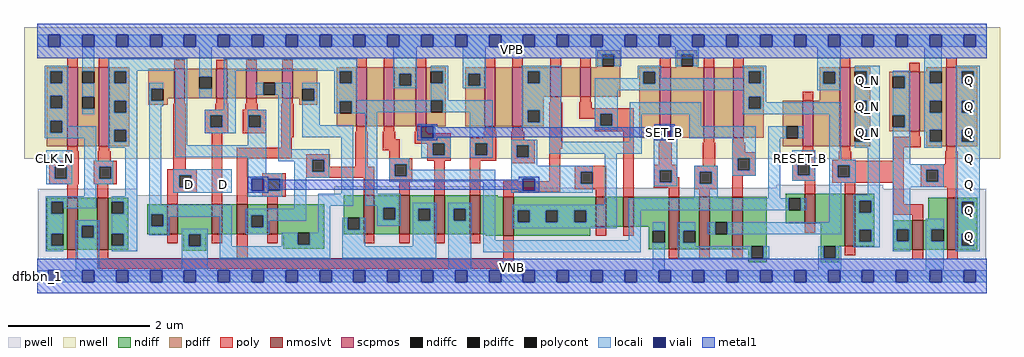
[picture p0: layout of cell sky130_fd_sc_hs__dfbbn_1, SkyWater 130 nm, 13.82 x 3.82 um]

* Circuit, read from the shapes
.subckt sky130_fd_sc_hs__dfbbn_1 CLK_N D RESET_B SET_B VGND VNB VPB VPWR Q Q_N
XM1 VGND CLK_N n1 VNB sky130_fd_pr__nfet_01v8_lvt w=0.74 l=0.15
XM2 n2 n1 VGND VNB sky130_fd_pr__nfet_01v8_lvt w=0.74 l=0.15
XM3 VGND D n3 VNB sky130_fd_pr__nfet_01v8_lvt w=0.42 l=0.15
XM4 n4 n5 VGND VNB sky130_fd_pr__nfet_01v8_lvt w=0.42 l=0.15
XM5 n6 n1 n4 VNB sky130_fd_pr__nfet_01v8_lvt w=0.42 l=0.15
XM6 n3 n2 n6 VNB sky130_fd_pr__nfet_01v8_lvt w=0.42 l=0.15
XM7 n5 n6 n7 VNB sky130_fd_pr__nfet_01v8_lvt w=0.55 l=0.15
XM8 n7 n8 n5 VNB sky130_fd_pr__nfet_01v8_lvt w=0.55 l=0.15
XM9 VGND SET_B n7 VNB sky130_fd_pr__nfet_01v8_lvt w=0.55 l=0.15
XM10 n9 n5 VGND VNB sky130_fd_pr__nfet_01v8_lvt w=0.55 l=0.15
XM11 n10 n1 n9 VNB sky130_fd_pr__nfet_01v8_lvt w=0.55 l=0.15
XM12 n11 n2 n10 VNB sky130_fd_pr__nfet_01v8_lvt w=0.42 l=0.15
XM13 VGND n12 n11 VNB sky130_fd_pr__nfet_01v8_lvt w=0.42 l=0.15
XM14 n13 SET_B VGND VNB sky130_fd_pr__nfet_01v8_lvt w=0.74 l=0.15
XM15 n12 n8 n13 VNB sky130_fd_pr__nfet_01v8_lvt w=0.74 l=0.15
XM16 n13 n10 n12 VNB sky130_fd_pr__nfet_01v8_lvt w=0.74 l=0.15
XM17 VGND RESET_B n8 VNB sky130_fd_pr__nfet_01v8_lvt w=0.42 l=0.15
XM18 Q_N n12 VGND VNB sky130_fd_pr__nfet_01v8_lvt w=0.74 l=0.15
XM19 VGND n12 n14 VNB sky130_fd_pr__nfet_01v8_lvt w=0.42 l=0.15
XM20 Q n14 VGND VNB sky130_fd_pr__nfet_01v8_lvt w=0.74 l=0.15
XM21 VPWR CLK_N n1 VPB sky130_fd_pr__pfet_01v8 w=1.12 l=0.15
XM22 n2 n1 VPWR VPB sky130_fd_pr__pfet_01v8 w=1.12 l=0.15
XM23 VPWR D n3 VPB sky130_fd_pr__pfet_01v8 w=0.42 l=0.15
XM24 n15 n5 VPWR VPB sky130_fd_pr__pfet_01v8 w=0.42 l=0.15
XM25 n6 n2 n15 VPB sky130_fd_pr__pfet_01v8 w=0.42 l=0.15
XM26 n3 n1 n6 VPB sky130_fd_pr__pfet_01v8 w=0.42 l=0.15
XM27 n16 n6 n5 VPB sky130_fd_pr__pfet_01v8 w=0.84 l=0.15
XM28 VPWR n8 n16 VPB sky130_fd_pr__pfet_01v8 w=0.84 l=0.15
XM29 n5 SET_B VPWR VPB sky130_fd_pr__pfet_01v8 w=0.84 l=0.15
XM30 n17 n5 VPWR VPB sky130_fd_pr__pfet_01v8 w=0.84 l=0.15
XM31 n10 n2 n17 VPB sky130_fd_pr__pfet_01v8 w=0.84 l=0.15
XM32 n18 n1 n10 VPB sky130_fd_pr__pfet_01v8 w=0.42 l=0.15
XM33 VPWR n12 n18 VPB sky130_fd_pr__pfet_01v8 w=0.42 l=0.15
XM34 VPWR SET_B n12 VPB sky130_fd_pr__pfet_01v8 w=1 l=0.15
XM35 n19 n8 VPWR VPB sky130_fd_pr__pfet_01v8 w=1 l=0.15
XM36 n12 n10 n19 VPB sky130_fd_pr__pfet_01v8 w=1 l=0.15
XM37 VPWR RESET_B n8 VPB sky130_fd_pr__pfet_01v8 w=0.64 l=0.15
XM38 Q_N n12 VPWR VPB sky130_fd_pr__pfet_01v8 w=1.12 l=0.15
XM39 VPWR n12 n14 VPB sky130_fd_pr__pfet_01v8 w=0.84 l=0.15
XM40 Q n14 VPWR VPB sky130_fd_pr__pfet_01v8 w=1.12 l=0.15
.ends

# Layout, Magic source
magic
tech sky130A
magscale 1 2
<< nwell >>
rect -38 332 2726 704
<< pwell >>
rect 841 250 1330 255
rect 2093 250 2396 259
rect 841 248 2396 250
rect 1 229 283 248
rect 841 229 2687 248
rect 1 49 2687 229
rect 0 0 2688 49
<< scpmos >>
rect 84 368 114 592
rect 174 368 204 592
rect 387 503 417 587
rect 507 503 537 587
rect 591 503 621 587
rect 693 503 723 587
rect 903 424 933 592
rect 981 424 1011 592
rect 1071 424 1101 592
rect 1267 424 1297 592
rect 1345 424 1375 592
rect 1453 508 1483 592
rect 1537 508 1567 592
rect 1763 392 1793 592
rect 1887 392 1917 592
rect 1971 392 2001 592
rect 2167 368 2197 496
rect 2272 368 2302 592
rect 2469 410 2499 578
rect 2574 368 2604 592
<< nmoslvt >>
rect 84 74 114 222
rect 170 74 200 222
rect 368 119 398 203
rect 493 119 523 203
rect 565 119 595 203
rect 651 119 681 203
rect 924 119 954 229
rect 1024 119 1054 229
rect 1124 119 1154 229
rect 1224 119 1254 229
rect 1319 114 1349 224
rect 1581 140 1611 224
rect 1659 140 1689 224
rect 1788 76 1818 224
rect 1874 76 1904 224
rect 1968 76 1998 224
rect 2173 149 2203 233
rect 2286 85 2316 233
rect 2478 74 2508 158
rect 2577 74 2607 222
<< ndiff >>
rect 27 210 84 222
rect 27 176 39 210
rect 73 176 84 210
rect 27 120 84 176
rect 27 86 39 120
rect 73 86 84 120
rect 27 74 84 86
rect 114 142 170 222
rect 114 108 125 142
rect 159 108 170 142
rect 114 74 170 108
rect 200 210 257 222
rect 200 176 211 210
rect 245 176 257 210
rect 200 120 257 176
rect 200 86 211 120
rect 245 86 257 120
rect 311 175 368 203
rect 311 141 323 175
rect 357 141 368 175
rect 311 119 368 141
rect 398 119 493 203
rect 523 119 565 203
rect 595 172 651 203
rect 595 138 606 172
rect 640 138 651 172
rect 595 119 651 138
rect 681 123 813 203
rect 681 119 737 123
rect 413 118 478 119
rect 200 74 257 86
rect 413 84 428 118
rect 462 84 478 118
rect 413 72 478 84
rect 696 89 737 119
rect 771 89 813 123
rect 867 165 924 229
rect 867 131 879 165
rect 913 131 924 165
rect 867 119 924 131
rect 954 193 1024 229
rect 954 159 979 193
rect 1013 159 1024 193
rect 954 119 1024 159
rect 1054 191 1124 229
rect 1054 157 1079 191
rect 1113 157 1124 191
rect 1054 119 1124 157
rect 1154 191 1224 229
rect 1154 157 1179 191
rect 1213 157 1224 191
rect 1154 119 1224 157
rect 1254 224 1304 229
rect 1254 119 1319 224
rect 1269 114 1319 119
rect 1349 186 1581 224
rect 1349 152 1360 186
rect 1394 152 1440 186
rect 1474 152 1520 186
rect 1554 152 1581 186
rect 1349 140 1581 152
rect 1611 140 1659 224
rect 1689 140 1788 224
rect 1349 114 1566 140
rect 1731 129 1788 140
rect 696 77 813 89
rect 1731 95 1743 129
rect 1777 95 1788 129
rect 1731 76 1788 95
rect 1818 129 1874 224
rect 1818 95 1829 129
rect 1863 95 1874 129
rect 1818 76 1874 95
rect 1904 153 1968 224
rect 1904 119 1919 153
rect 1953 119 1968 153
rect 1904 76 1968 119
rect 1998 85 2065 224
rect 2119 221 2173 233
rect 2119 187 2128 221
rect 2162 187 2173 221
rect 2119 149 2173 187
rect 2203 149 2286 233
rect 1998 76 2022 85
rect 2013 51 2022 76
rect 2056 51 2065 85
rect 2013 39 2065 51
rect 2218 85 2286 149
rect 2316 214 2370 233
rect 2316 180 2327 214
rect 2361 180 2370 214
rect 2316 131 2370 180
rect 2523 158 2577 222
rect 2316 97 2327 131
rect 2361 97 2370 131
rect 2316 85 2370 97
rect 2424 133 2478 158
rect 2424 99 2433 133
rect 2467 99 2478 133
rect 2218 51 2227 85
rect 2261 51 2271 85
rect 2424 74 2478 99
rect 2508 133 2577 158
rect 2508 99 2532 133
rect 2566 99 2577 133
rect 2508 74 2577 99
rect 2607 210 2661 222
rect 2607 176 2618 210
rect 2652 176 2661 210
rect 2607 120 2661 176
rect 2607 86 2618 120
rect 2652 86 2661 120
rect 2607 74 2661 86
rect 2218 39 2271 51
<< pdiff >>
rect 1585 628 1650 639
rect 27 580 84 592
rect 27 546 37 580
rect 71 546 84 580
rect 27 510 84 546
rect 27 476 37 510
rect 71 476 84 510
rect 27 440 84 476
rect 27 406 37 440
rect 71 406 84 440
rect 27 368 84 406
rect 114 580 174 592
rect 114 546 127 580
rect 161 546 174 580
rect 114 508 174 546
rect 114 474 127 508
rect 161 474 174 508
rect 114 368 174 474
rect 204 580 260 592
rect 1585 594 1600 628
rect 1634 594 1650 628
rect 1811 628 1869 639
rect 1585 592 1650 594
rect 1811 594 1823 628
rect 1857 594 1869 628
rect 1811 592 1869 594
rect 204 546 217 580
rect 251 546 260 580
rect 204 497 260 546
rect 204 463 217 497
rect 251 463 260 497
rect 314 531 387 587
rect 314 497 323 531
rect 357 503 387 531
rect 417 565 507 587
rect 417 531 459 565
rect 493 531 507 565
rect 417 503 507 531
rect 537 503 591 587
rect 621 547 693 587
rect 621 513 640 547
rect 674 513 693 547
rect 621 503 693 513
rect 723 531 793 587
rect 723 503 750 531
rect 357 497 369 503
rect 314 485 369 497
rect 741 497 750 503
rect 784 497 793 531
rect 204 414 260 463
rect 204 380 217 414
rect 251 380 260 414
rect 204 368 260 380
rect 741 485 793 497
rect 847 580 903 592
rect 847 546 856 580
rect 890 546 903 580
rect 847 495 903 546
rect 847 461 856 495
rect 890 461 903 495
rect 847 424 903 461
rect 933 424 981 592
rect 1011 573 1071 592
rect 1011 539 1024 573
rect 1058 539 1071 573
rect 1011 424 1071 539
rect 1101 580 1157 592
rect 1101 546 1114 580
rect 1148 546 1157 580
rect 1101 498 1157 546
rect 1101 464 1114 498
rect 1148 464 1157 498
rect 1101 424 1157 464
rect 1211 573 1267 592
rect 1211 539 1220 573
rect 1254 539 1267 573
rect 1211 424 1267 539
rect 1297 424 1345 592
rect 1375 580 1453 592
rect 1375 546 1388 580
rect 1422 546 1453 580
rect 1375 508 1453 546
rect 1483 508 1537 592
rect 1567 508 1650 592
rect 1704 578 1763 592
rect 1704 544 1716 578
rect 1750 544 1763 578
rect 1375 470 1434 508
rect 1375 436 1388 470
rect 1422 436 1434 470
rect 1375 424 1434 436
rect 1704 392 1763 544
rect 1793 392 1887 592
rect 1917 392 1971 592
rect 2001 580 2057 592
rect 2001 546 2014 580
rect 2048 546 2057 580
rect 2001 508 2057 546
rect 2215 578 2272 592
rect 2215 544 2225 578
rect 2259 544 2272 578
rect 2001 474 2014 508
rect 2048 474 2057 508
rect 2215 496 2272 544
rect 2001 392 2057 474
rect 2111 424 2167 496
rect 2111 390 2120 424
rect 2154 390 2167 424
rect 2111 368 2167 390
rect 2197 368 2272 496
rect 2302 580 2358 592
rect 2302 546 2315 580
rect 2349 546 2358 580
rect 2517 580 2574 592
rect 2517 578 2527 580
rect 2302 497 2358 546
rect 2302 463 2315 497
rect 2349 463 2358 497
rect 2302 414 2358 463
rect 2302 380 2315 414
rect 2349 380 2358 414
rect 2412 566 2469 578
rect 2412 532 2422 566
rect 2456 532 2469 566
rect 2412 456 2469 532
rect 2412 422 2422 456
rect 2456 422 2469 456
rect 2412 410 2469 422
rect 2499 546 2527 578
rect 2561 546 2574 580
rect 2499 497 2574 546
rect 2499 463 2527 497
rect 2561 463 2574 497
rect 2499 414 2574 463
rect 2499 410 2527 414
rect 2302 368 2358 380
rect 2517 380 2527 410
rect 2561 380 2574 414
rect 2517 368 2574 380
rect 2604 580 2661 592
rect 2604 546 2617 580
rect 2651 546 2661 580
rect 2604 497 2661 546
rect 2604 463 2617 497
rect 2651 463 2661 497
rect 2604 414 2661 463
rect 2604 380 2617 414
rect 2651 380 2661 414
rect 2604 368 2661 380
<< ndiffc >>
rect 39 176 73 210
rect 39 86 73 120
rect 125 108 159 142
rect 211 176 245 210
rect 211 86 245 120
rect 323 141 357 175
rect 606 138 640 172
rect 428 84 462 118
rect 737 89 771 123
rect 879 131 913 165
rect 979 159 1013 193
rect 1079 157 1113 191
rect 1179 157 1213 191
rect 1360 152 1394 186
rect 1440 152 1474 186
rect 1520 152 1554 186
rect 1743 95 1777 129
rect 1829 95 1863 129
rect 1919 119 1953 153
rect 2128 187 2162 221
rect 2022 51 2056 85
rect 2327 180 2361 214
rect 2327 97 2361 131
rect 2433 99 2467 133
rect 2227 51 2261 85
rect 2532 99 2566 133
rect 2618 176 2652 210
rect 2618 86 2652 120
<< pdiffc >>
rect 37 546 71 580
rect 37 476 71 510
rect 37 406 71 440
rect 127 546 161 580
rect 127 474 161 508
rect 1600 594 1634 628
rect 1823 594 1857 628
rect 217 546 251 580
rect 217 463 251 497
rect 323 497 357 531
rect 459 531 493 565
rect 640 513 674 547
rect 750 497 784 531
rect 217 380 251 414
rect 856 546 890 580
rect 856 461 890 495
rect 1024 539 1058 573
rect 1114 546 1148 580
rect 1114 464 1148 498
rect 1220 539 1254 573
rect 1388 546 1422 580
rect 1716 544 1750 578
rect 1388 436 1422 470
rect 2014 546 2048 580
rect 2225 544 2259 578
rect 2014 474 2048 508
rect 2120 390 2154 424
rect 2315 546 2349 580
rect 2315 463 2349 497
rect 2315 380 2349 414
rect 2422 532 2456 566
rect 2422 422 2456 456
rect 2527 546 2561 580
rect 2527 463 2561 497
rect 2527 380 2561 414
rect 2617 546 2651 580
rect 2617 463 2651 497
rect 2617 380 2651 414
<< poly >>
rect 84 592 114 618
rect 174 592 204 618
rect 387 587 417 613
rect 507 587 537 613
rect 591 587 621 613
rect 693 587 723 613
rect 903 592 933 618
rect 981 592 1011 618
rect 1071 592 1101 618
rect 1267 592 1297 618
rect 1345 592 1375 618
rect 1453 592 1483 618
rect 1537 592 1567 618
rect 1763 592 1793 618
rect 1887 592 1917 618
rect 1971 592 2001 618
rect 2272 592 2302 618
rect 387 488 417 503
rect 507 488 537 503
rect 591 488 621 503
rect 693 488 723 503
rect 84 353 114 368
rect 174 353 204 368
rect 81 326 117 353
rect 171 326 207 353
rect 33 310 117 326
rect 33 276 49 310
rect 83 276 117 310
rect 33 260 117 276
rect 159 310 225 326
rect 159 276 175 310
rect 209 276 225 310
rect 384 302 420 488
rect 504 471 540 488
rect 588 471 624 488
rect 474 455 540 471
rect 474 421 490 455
rect 524 421 540 455
rect 474 405 540 421
rect 582 455 648 471
rect 582 421 598 455
rect 632 421 648 455
rect 582 405 648 421
rect 159 260 225 276
rect 368 286 451 302
rect 84 222 114 260
rect 170 222 200 260
rect 368 252 401 286
rect 435 252 451 286
rect 368 236 451 252
rect 368 203 398 236
rect 493 203 523 405
rect 690 393 726 488
rect 1453 493 1483 508
rect 1537 493 1567 508
rect 903 409 933 424
rect 981 409 1011 424
rect 1071 409 1101 424
rect 1267 409 1297 424
rect 1345 409 1375 424
rect 690 363 720 393
rect 565 333 720 363
rect 565 203 595 333
rect 762 329 828 345
rect 762 295 778 329
rect 812 309 828 329
rect 900 309 936 409
rect 978 387 1014 409
rect 1068 405 1104 409
rect 978 357 1026 387
rect 1068 376 1170 405
rect 1264 392 1300 409
rect 1068 375 1120 376
rect 996 333 1026 357
rect 1104 342 1120 375
rect 1154 342 1170 376
rect 996 317 1062 333
rect 1104 326 1170 342
rect 1224 376 1300 392
rect 1224 342 1240 376
rect 1274 342 1300 376
rect 1224 326 1300 342
rect 1342 386 1378 409
rect 1342 370 1408 386
rect 1342 336 1358 370
rect 1392 336 1408 370
rect 812 295 954 309
rect 637 275 703 291
rect 762 279 954 295
rect 637 241 653 275
rect 687 241 703 275
rect 637 225 703 241
rect 924 229 954 279
rect 996 283 1012 317
rect 1046 283 1062 317
rect 996 267 1062 283
rect 1024 229 1054 267
rect 1124 229 1154 326
rect 1224 229 1254 326
rect 1342 320 1408 336
rect 1450 360 1486 493
rect 1534 476 1570 493
rect 1534 460 1689 476
rect 1534 446 1594 460
rect 1578 426 1594 446
rect 1628 426 1689 460
rect 1578 410 1689 426
rect 1450 269 1480 360
rect 1319 239 1480 269
rect 1522 296 1611 312
rect 1522 262 1538 296
rect 1572 262 1611 296
rect 1522 246 1611 262
rect 651 203 681 225
rect 368 93 398 119
rect 493 93 523 119
rect 84 48 114 74
rect 170 51 200 74
rect 565 51 595 119
rect 651 93 681 119
rect 1319 224 1349 239
rect 1581 224 1611 246
rect 1659 224 1689 410
rect 2167 496 2197 522
rect 1763 377 1793 392
rect 1887 377 1917 392
rect 1971 377 2001 392
rect 1760 316 1796 377
rect 1746 300 1812 316
rect 1884 312 1920 377
rect 1968 350 2004 377
rect 2469 578 2499 604
rect 2574 592 2604 618
rect 2469 395 2499 410
rect 2167 353 2197 368
rect 2272 353 2302 368
rect 2423 365 2502 395
rect 1968 334 2034 350
rect 2164 336 2200 353
rect 1746 266 1762 300
rect 1796 280 1812 300
rect 1860 296 1926 312
rect 1796 266 1818 280
rect 1746 250 1818 266
rect 1788 224 1818 250
rect 1860 262 1876 296
rect 1910 262 1926 296
rect 1860 246 1926 262
rect 1968 300 1984 334
rect 2018 300 2034 334
rect 1968 284 2034 300
rect 2137 320 2203 336
rect 2269 330 2305 353
rect 2137 286 2153 320
rect 2187 286 2203 320
rect 1874 224 1904 246
rect 1968 224 1998 284
rect 2137 270 2203 286
rect 2173 233 2203 270
rect 2251 327 2317 330
rect 2423 327 2453 365
rect 2574 353 2604 368
rect 2251 314 2453 327
rect 2571 317 2607 353
rect 2251 280 2267 314
rect 2301 280 2453 314
rect 2251 264 2453 280
rect 2286 233 2316 264
rect 924 93 954 119
rect 1024 93 1054 119
rect 1124 93 1154 119
rect 1224 93 1254 119
rect 1581 114 1611 140
rect 1659 114 1689 140
rect 1319 51 1349 114
rect 2173 123 2203 149
rect 170 21 1349 51
rect 1788 50 1818 76
rect 1874 50 1904 76
rect 1968 50 1998 76
rect 2423 203 2453 264
rect 2501 301 2607 317
rect 2501 267 2517 301
rect 2551 267 2607 301
rect 2501 251 2607 267
rect 2577 222 2607 251
rect 2423 173 2508 203
rect 2478 158 2508 173
rect 2286 59 2316 85
rect 2478 48 2508 74
rect 2577 48 2607 74
<< polycont >>
rect 49 276 83 310
rect 175 276 209 310
rect 490 421 524 455
rect 598 421 632 455
rect 401 252 435 286
rect 778 295 812 329
rect 1120 342 1154 376
rect 1240 342 1274 376
rect 1358 336 1392 370
rect 653 241 687 275
rect 1012 283 1046 317
rect 1594 426 1628 460
rect 1538 262 1572 296
rect 1762 266 1796 300
rect 1876 262 1910 296
rect 1984 300 2018 334
rect 2153 286 2187 320
rect 2267 280 2301 314
rect 2517 267 2551 301
<< locali >>
rect 0 649 31 683
rect 65 649 127 683
rect 161 649 223 683
rect 257 649 319 683
rect 353 649 415 683
rect 449 649 511 683
rect 545 649 607 683
rect 641 649 703 683
rect 737 649 799 683
rect 833 649 895 683
rect 929 649 991 683
rect 1025 649 1087 683
rect 1121 649 1183 683
rect 1217 649 1279 683
rect 1313 649 1375 683
rect 1409 649 1471 683
rect 1505 649 1567 683
rect 1601 649 1663 683
rect 1697 649 1759 683
rect 1793 649 1855 683
rect 1889 649 1951 683
rect 1985 649 2047 683
rect 2081 649 2143 683
rect 2177 649 2239 683
rect 2273 649 2335 683
rect 2369 649 2431 683
rect 2465 649 2527 683
rect 2561 649 2623 683
rect 2657 649 2688 683
rect 21 580 87 596
rect 21 546 37 580
rect 71 546 87 580
rect 21 510 87 546
rect 21 476 37 510
rect 71 476 87 510
rect 21 440 87 476
rect 127 580 161 649
rect 127 508 161 546
rect 127 458 161 474
rect 201 581 425 615
rect 201 580 283 581
rect 201 546 217 580
rect 251 546 283 580
rect 201 497 283 546
rect 201 463 217 497
rect 251 463 283 497
rect 21 406 37 440
rect 71 424 87 440
rect 71 406 167 424
rect 21 390 167 406
rect 25 310 99 356
rect 25 276 49 310
rect 83 276 99 310
rect 25 260 99 276
rect 133 326 167 390
rect 201 414 283 463
rect 201 380 217 414
rect 251 380 283 414
rect 201 364 283 380
rect 133 310 215 326
rect 133 276 175 310
rect 209 276 215 310
rect 133 260 215 276
rect 133 226 167 260
rect 249 226 283 364
rect 23 210 167 226
rect 23 176 39 210
rect 73 192 167 210
rect 211 210 283 226
rect 23 120 73 176
rect 245 176 283 210
rect 23 86 39 120
rect 23 70 73 86
rect 109 142 175 158
rect 109 108 125 142
rect 159 108 175 142
rect 109 17 175 108
rect 211 120 283 176
rect 245 86 283 120
rect 317 531 357 547
rect 317 497 323 531
rect 317 481 357 497
rect 317 202 351 481
rect 391 371 425 581
rect 459 565 493 649
rect 459 505 493 531
rect 527 581 906 615
rect 527 471 561 581
rect 840 580 906 581
rect 618 513 640 547
rect 674 513 716 547
rect 474 455 561 471
rect 474 421 490 455
rect 524 421 561 455
rect 474 405 561 421
rect 595 455 648 471
rect 595 421 598 455
rect 632 421 648 455
rect 595 371 648 421
rect 391 337 648 371
rect 385 286 551 302
rect 385 252 401 286
rect 435 252 551 286
rect 385 236 551 252
rect 595 291 648 337
rect 682 359 716 513
rect 750 531 800 547
rect 784 497 800 531
rect 750 427 800 497
rect 840 546 856 580
rect 890 546 906 580
rect 840 498 906 546
rect 1008 573 1074 649
rect 1008 539 1024 573
rect 1058 539 1074 573
rect 1008 532 1074 539
rect 1114 580 1164 596
rect 1148 546 1164 580
rect 1114 498 1164 546
rect 1204 573 1270 649
rect 1581 628 1654 649
rect 1204 539 1220 573
rect 1254 539 1270 573
rect 1204 532 1270 539
rect 1372 580 1483 596
rect 1581 594 1600 628
rect 1634 594 1654 628
rect 1807 628 1873 649
rect 1372 546 1388 580
rect 1422 546 1483 580
rect 1700 578 1766 596
rect 1807 594 1823 628
rect 1857 594 1873 628
rect 1700 560 1716 578
rect 840 495 1114 498
rect 840 461 856 495
rect 890 464 1114 495
rect 1148 464 1290 498
rect 890 461 963 464
rect 750 393 895 427
rect 682 329 827 359
rect 682 325 778 329
rect 727 295 778 325
rect 812 295 827 329
rect 595 276 693 291
rect 595 242 607 276
rect 641 275 693 276
rect 641 242 653 275
rect 595 241 653 242
rect 687 241 693 275
rect 595 225 693 241
rect 727 279 827 295
rect 317 175 550 202
rect 727 191 761 279
rect 861 233 895 393
rect 317 141 323 175
rect 357 168 550 175
rect 357 141 373 168
rect 317 115 373 141
rect 409 118 482 134
rect 211 70 283 86
rect 409 84 428 118
rect 462 84 482 118
rect 409 17 482 84
rect 516 85 550 168
rect 590 172 761 191
rect 590 138 606 172
rect 640 157 761 172
rect 795 199 895 233
rect 929 233 963 461
rect 1087 424 1127 430
rect 1121 392 1127 424
rect 1121 390 1170 392
rect 1087 376 1170 390
rect 1087 342 1120 376
rect 1154 342 1170 376
rect 1087 335 1170 342
rect 1224 376 1290 464
rect 1372 470 1483 546
rect 1372 436 1388 470
rect 1422 436 1483 470
rect 1372 420 1483 436
rect 1224 342 1240 376
rect 1274 342 1290 376
rect 1224 335 1290 342
rect 1342 370 1415 386
rect 1342 336 1358 370
rect 1392 336 1415 370
rect 1449 380 1483 420
rect 1578 544 1716 560
rect 1750 560 1766 578
rect 1998 580 2064 596
rect 1998 560 2014 580
rect 1750 546 2014 560
rect 2048 546 2064 580
rect 1750 544 2064 546
rect 1578 526 2064 544
rect 2209 578 2275 649
rect 2209 544 2225 578
rect 2259 544 2275 578
rect 2209 526 2275 544
rect 2315 580 2385 596
rect 2349 546 2385 580
rect 1578 460 1644 526
rect 1998 508 2064 526
rect 1578 426 1594 460
rect 1628 426 1644 460
rect 1578 414 1644 426
rect 1678 458 1880 492
rect 1998 474 2014 508
rect 2048 492 2064 508
rect 2315 497 2385 546
rect 2048 474 2277 492
rect 1998 458 2277 474
rect 1678 380 1712 458
rect 1846 424 1880 458
rect 1449 346 1712 380
rect 1746 390 1759 424
rect 1793 390 1812 424
rect 1846 390 2034 424
rect 997 317 1053 333
rect 997 283 1012 317
rect 1046 301 1053 317
rect 1342 312 1415 336
rect 1046 283 1297 301
rect 997 267 1297 283
rect 929 199 1029 233
rect 640 138 656 157
rect 590 119 656 138
rect 795 123 829 199
rect 963 193 1029 199
rect 692 89 737 123
rect 771 89 829 123
rect 692 85 829 89
rect 516 51 829 85
rect 863 131 879 165
rect 913 131 929 165
rect 963 159 979 193
rect 1013 159 1029 193
rect 963 143 1029 159
rect 1063 191 1129 207
rect 1063 157 1079 191
rect 1113 157 1129 191
rect 863 85 929 131
rect 1063 85 1129 157
rect 863 51 1129 85
rect 1163 191 1229 207
rect 1163 157 1179 191
rect 1213 157 1229 191
rect 1163 17 1229 157
rect 1263 102 1297 267
rect 1342 296 1573 312
rect 1342 276 1538 296
rect 1342 242 1375 276
rect 1409 262 1538 276
rect 1572 262 1573 296
rect 1409 242 1573 262
rect 1342 236 1573 242
rect 1607 202 1641 346
rect 1746 300 1812 390
rect 1968 334 2034 390
rect 1746 266 1762 300
rect 1796 266 1812 300
rect 1746 255 1812 266
rect 1860 296 1926 312
rect 1860 262 1876 296
rect 1910 262 1926 296
rect 1968 300 1984 334
rect 2018 300 2034 334
rect 1968 284 2034 300
rect 2069 390 2120 424
rect 2154 390 2170 424
rect 1860 221 1926 262
rect 2069 221 2103 390
rect 2137 320 2203 356
rect 2137 286 2153 320
rect 2187 286 2203 320
rect 2137 270 2203 286
rect 2243 330 2277 458
rect 2349 463 2385 497
rect 2315 414 2385 463
rect 2349 380 2385 414
rect 2315 364 2385 380
rect 2243 314 2317 330
rect 2243 280 2267 314
rect 2301 280 2317 314
rect 2243 264 2317 280
rect 1344 186 1641 202
rect 1344 152 1360 186
rect 1394 152 1440 186
rect 1474 152 1520 186
rect 1554 152 1641 186
rect 1344 136 1641 152
rect 1675 187 2128 221
rect 2162 187 2178 221
rect 1675 102 1709 187
rect 2243 153 2277 264
rect 2351 230 2385 364
rect 1263 68 1709 102
rect 1743 129 1777 153
rect 1743 17 1777 95
rect 1813 129 1863 153
rect 1813 95 1829 129
rect 1899 119 1919 153
rect 1953 119 2277 153
rect 2311 214 2385 230
rect 2311 180 2327 214
rect 2361 180 2385 214
rect 2311 131 2385 180
rect 1813 85 1863 95
rect 2311 97 2327 131
rect 2361 97 2385 131
rect 1813 51 2022 85
rect 2056 51 2072 85
rect 2211 51 2227 85
rect 2261 51 2277 85
rect 2311 81 2385 97
rect 2422 566 2472 582
rect 2456 532 2472 566
rect 2422 456 2472 532
rect 2456 422 2472 456
rect 2422 317 2472 422
rect 2511 580 2561 649
rect 2511 546 2527 580
rect 2511 497 2561 546
rect 2511 463 2527 497
rect 2511 414 2561 463
rect 2511 380 2527 414
rect 2511 364 2561 380
rect 2601 580 2668 596
rect 2601 546 2617 580
rect 2651 546 2668 580
rect 2601 497 2668 546
rect 2601 463 2617 497
rect 2651 463 2668 497
rect 2601 414 2668 463
rect 2601 380 2617 414
rect 2651 380 2668 414
rect 2422 301 2567 317
rect 2422 267 2517 301
rect 2551 267 2567 301
rect 2422 251 2567 267
rect 2422 133 2472 251
rect 2601 210 2668 380
rect 2601 176 2618 210
rect 2652 176 2668 210
rect 2422 99 2433 133
rect 2467 99 2472 133
rect 2422 70 2472 99
rect 2516 133 2566 162
rect 2516 99 2532 133
rect 2211 17 2277 51
rect 2516 17 2566 99
rect 2601 120 2668 176
rect 2601 86 2618 120
rect 2652 86 2668 120
rect 2601 70 2668 86
rect 0 -17 31 17
rect 65 -17 127 17
rect 161 -17 223 17
rect 257 -17 319 17
rect 353 -17 415 17
rect 449 -17 511 17
rect 545 -17 607 17
rect 641 -17 703 17
rect 737 -17 799 17
rect 833 -17 895 17
rect 929 -17 991 17
rect 1025 -17 1087 17
rect 1121 -17 1183 17
rect 1217 -17 1279 17
rect 1313 -17 1375 17
rect 1409 -17 1471 17
rect 1505 -17 1567 17
rect 1601 -17 1663 17
rect 1697 -17 1759 17
rect 1793 -17 1855 17
rect 1889 -17 1951 17
rect 1985 -17 2047 17
rect 2081 -17 2143 17
rect 2177 -17 2239 17
rect 2273 -17 2335 17
rect 2369 -17 2431 17
rect 2465 -17 2527 17
rect 2561 -17 2623 17
rect 2657 -17 2688 17
<< viali >>
rect 31 649 65 683
rect 127 649 161 683
rect 223 649 257 683
rect 319 649 353 683
rect 415 649 449 683
rect 511 649 545 683
rect 607 649 641 683
rect 703 649 737 683
rect 799 649 833 683
rect 895 649 929 683
rect 991 649 1025 683
rect 1087 649 1121 683
rect 1183 649 1217 683
rect 1279 649 1313 683
rect 1375 649 1409 683
rect 1471 649 1505 683
rect 1567 649 1601 683
rect 1663 649 1697 683
rect 1759 649 1793 683
rect 1855 649 1889 683
rect 1951 649 1985 683
rect 2047 649 2081 683
rect 2143 649 2177 683
rect 2239 649 2273 683
rect 2335 649 2369 683
rect 2431 649 2465 683
rect 2527 649 2561 683
rect 2623 649 2657 683
rect 607 242 641 276
rect 1087 390 1121 424
rect 1759 390 1793 424
rect 1375 242 1409 276
rect 31 -17 65 17
rect 127 -17 161 17
rect 223 -17 257 17
rect 319 -17 353 17
rect 415 -17 449 17
rect 511 -17 545 17
rect 607 -17 641 17
rect 703 -17 737 17
rect 799 -17 833 17
rect 895 -17 929 17
rect 991 -17 1025 17
rect 1087 -17 1121 17
rect 1183 -17 1217 17
rect 1279 -17 1313 17
rect 1375 -17 1409 17
rect 1471 -17 1505 17
rect 1567 -17 1601 17
rect 1663 -17 1697 17
rect 1759 -17 1793 17
rect 1855 -17 1889 17
rect 1951 -17 1985 17
rect 2047 -17 2081 17
rect 2143 -17 2177 17
rect 2239 -17 2273 17
rect 2335 -17 2369 17
rect 2431 -17 2465 17
rect 2527 -17 2561 17
rect 2623 -17 2657 17
<< metal1 >>
rect 0 683 2688 715
rect 0 649 31 683
rect 65 649 127 683
rect 161 649 223 683
rect 257 649 319 683
rect 353 649 415 683
rect 449 649 511 683
rect 545 649 607 683
rect 641 649 703 683
rect 737 649 799 683
rect 833 649 895 683
rect 929 649 991 683
rect 1025 649 1087 683
rect 1121 649 1183 683
rect 1217 649 1279 683
rect 1313 649 1375 683
rect 1409 649 1471 683
rect 1505 649 1567 683
rect 1601 649 1663 683
rect 1697 649 1759 683
rect 1793 649 1855 683
rect 1889 649 1951 683
rect 1985 649 2047 683
rect 2081 649 2143 683
rect 2177 649 2239 683
rect 2273 649 2335 683
rect 2369 649 2431 683
rect 2465 649 2527 683
rect 2561 649 2623 683
rect 2657 649 2688 683
rect 0 617 2688 649
rect 1075 424 1133 430
rect 1075 390 1087 424
rect 1121 421 1133 424
rect 1747 424 1805 430
rect 1747 421 1759 424
rect 1121 393 1759 421
rect 1121 390 1133 393
rect 1075 384 1133 390
rect 1747 390 1759 393
rect 1793 390 1805 424
rect 1747 384 1805 390
rect 595 276 653 282
rect 595 242 607 276
rect 641 273 653 276
rect 1363 276 1421 282
rect 1363 273 1375 276
rect 641 245 1375 273
rect 641 242 653 245
rect 595 236 653 242
rect 1363 242 1375 245
rect 1409 242 1421 276
rect 1363 236 1421 242
rect 0 17 2688 49
rect 0 -17 31 17
rect 65 -17 127 17
rect 161 -17 223 17
rect 257 -17 319 17
rect 353 -17 415 17
rect 449 -17 511 17
rect 545 -17 607 17
rect 641 -17 703 17
rect 737 -17 799 17
rect 833 -17 895 17
rect 929 -17 991 17
rect 1025 -17 1087 17
rect 1121 -17 1183 17
rect 1217 -17 1279 17
rect 1313 -17 1375 17
rect 1409 -17 1471 17
rect 1505 -17 1567 17
rect 1601 -17 1663 17
rect 1697 -17 1759 17
rect 1793 -17 1855 17
rect 1889 -17 1951 17
rect 1985 -17 2047 17
rect 2081 -17 2143 17
rect 2177 -17 2239 17
rect 2273 -17 2335 17
rect 2369 -17 2431 17
rect 2465 -17 2527 17
rect 2561 -17 2623 17
rect 2657 -17 2688 17
rect 0 -49 2688 -17
<< labels >>
rlabel comment s 0 0 0 0 4 dfbbn_1
flabel pwell s 0 0 2688 49 0 FreeSans 200 0 0 0 VNB
port 6 nsew ground bidirectional
flabel nwell s 0 617 2688 666 0 FreeSans 200 0 0 0 VPB
port 7 nsew power bidirectional
flabel metal1 s 1759 390 1793 424 0 FreeSans 340 0 0 0 SET_B
port 4 nsew signal input
flabel metal1 s 0 617 2688 666 0 FreeSans 340 0 0 0 VPWR
port 8 nsew power bidirectional
flabel metal1 s 0 0 2688 49 0 FreeSans 340 0 0 0 VGND
port 5 nsew ground bidirectional
flabel locali s 2623 94 2657 128 0 FreeSans 340 0 0 0 Q
port 9 nsew signal output
flabel locali s 2623 168 2657 202 0 FreeSans 340 0 0 0 Q
port 9 nsew signal output
flabel locali s 2623 242 2657 276 0 FreeSans 340 0 0 0 Q
port 9 nsew signal output
flabel locali s 2623 316 2657 350 0 FreeSans 340 0 0 0 Q
port 9 nsew signal output
flabel locali s 2623 390 2657 424 0 FreeSans 340 0 0 0 Q
port 9 nsew signal output
flabel locali s 2623 464 2657 498 0 FreeSans 340 0 0 0 Q
port 9 nsew signal output
flabel locali s 2623 538 2657 572 0 FreeSans 340 0 0 0 Q
port 9 nsew signal output
flabel locali s 415 242 449 276 0 FreeSans 340 0 0 0 D
port 2 nsew signal input
flabel locali s 511 242 545 276 0 FreeSans 340 0 0 0 D
port 2 nsew signal input
flabel locali s 2143 316 2177 350 0 FreeSans 340 0 0 0 RESET_B
port 3 nsew signal input
flabel locali s 31 316 65 350 0 FreeSans 340 0 0 0 CLK_N
port 1 nsew clock input
flabel locali s 2335 390 2369 424 0 FreeSans 340 0 0 0 Q_N
port 10 nsew signal output
flabel locali s 2335 464 2369 498 0 FreeSans 340 0 0 0 Q_N
port 10 nsew signal output
flabel locali s 2335 538 2369 572 0 FreeSans 340 0 0 0 Q_N
port 10 nsew signal output
<< properties >>
string LEFsite unit
string LEFclass CORE
string FIXED_BBOX 0 0 2688 666
string GDS_FILE $PDKPATH/libs.ref/sky130_fd_sc_hs/gds/sky130_fd_sc_hs.gds
string LEFsymmetry X Y
string GDS_END 1104238
string GDS_START 1083626
<< end >>
